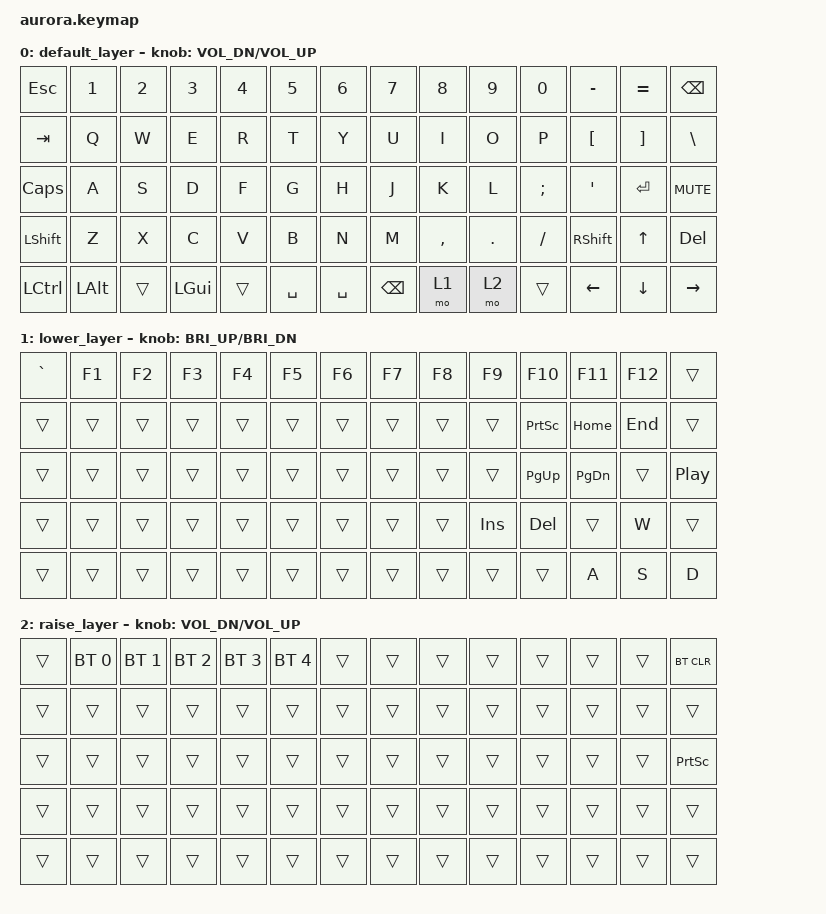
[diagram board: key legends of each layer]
#include <behaviors.dtsi>
#include <dt-bindings/zmk/keys.h>
#include <dt-bindings/zmk/bt.h>
#include <dt-bindings/zmk/ext_power.h>

/ {
    keymap {
        compatible = "zmk,keymap";

        default_layer {
            // ----------------------------------------------------------------------------------------------
            // |  ESC |  1  |  2  |  3  |  4  |  5  |   |  6  |  7  |  8  |  9   |  0  |   -  |   +  | BSPC |
            // |  TAB |  Q  |  W  |  E  |  R  |  T  |   |  Y  |  U  |  I  |  O   |  P  | LBKT | RBKT |   \  |
            // | CAPS |  A  |  S  |  D  |  F  |  G  |   |  H  |  J  |  K  |  L   |  ;  |  '   | ENTR | REBT |
            // | SHFT |  Z  |  X  |  C  |  V  |  B  |   |  N  |  M  |  ,  |  .   |  /  | SHFT | UPAR | DEL  |
            // |  CTRL  |  ALT  |  SPR  |    SPC    |   | BSPC | ALT | LOW | LOW2 |     | LTAR | DNAR | RTAR |

            bindings = <
&kp ESC    &kp N1    &kp N2  &kp N3    &kp N4  &kp N5       &kp N6     &kp N7    &kp N8     &kp N9   &kp N0    &kp MINUS  &kp EQUAL  &kp BSPC
&kp TAB    &kp Q     &kp W   &kp E     &kp R   &kp T        &kp Y      &kp U     &kp I      &kp O    &kp P     &kp LBKT   &kp RBKT   &kp BSLH
&kp CAPS   &kp A     &kp S   &kp D     &kp F   &kp G        &kp H      &kp J     &kp K      &kp L    &kp SEMI  &kp APOS   &kp RET    &kp C_MUTE
&kp LSHFT  &kp Z     &kp X   &kp C     &kp V   &kp B        &kp N      &kp M     &kp COMMA  &kp DOT  &kp FSLH  &kp RSHFT  &kp UP     &kp DEL
&kp LCTRL  &kp LALT  &trans  &kp LGUI  &trans  &kp SPACE    &kp SPACE  &kp BSPC  &mo 1      &mo 2    &trans    &kp LEFT   &kp DOWN   &kp RIGHT
            >;

            sensor-bindings = <&inc_dec_kp C_VOL_DN C_VOL_UP>;
        };

        lower_layer {
            // --------------------------------------------------------------------------------------
            // |  `  | F1 | F2 | F3 | F4 | F5 |   | F6 | F7 | F8  | F9  | F10  | F11  | F12 |       |
            // |     |    |    |    |    |    |   |    |    |     |     | PRNT | HOME | END |       |
            // |     |    |    |    |    |    |   |    |    |     |     | PGUP | PGDN |     | PSCRN |
            // |     |    |    |    |    |    |   |    |    |     | ISR | DEL  |      |  W  |       |
            // |     |    |    |    |    |    |   |    |    |     |     |      |  A   |  S  |   D   |

            bindings = <
&kp GRAVE  &kp F1  &kp F2  &kp F3  &kp F4  &kp F5    &kp F6  &kp F7  &kp F8  &kp F9   &kp F10    &kp F11    &kp F12  &trans
&trans     &trans  &trans  &trans  &trans  &trans    &trans  &trans  &trans  &trans   &kp PSCRN  &kp HOME   &kp END  &trans
&trans     &trans  &trans  &trans  &trans  &trans    &trans  &trans  &trans  &trans   &kp PG_UP  &kp PG_DN  &trans   &kp C_PP
&trans     &trans  &trans  &trans  &trans  &trans    &trans  &trans  &trans  &kp INS  &kp DEL    &trans     &kp W    &trans
&trans     &trans  &trans  &trans  &trans  &trans    &trans  &trans  &trans  &trans   &trans     &kp A      &kp S    &kp D
            >;

            sensor-bindings = <&inc_dec_kp C_BRI_UP C_BRI_DN>;
        };

        raise_layer {
            // --------------------------------------------------------------------------------------
            // |     | B1 | B2 | B3 | B4 | B5 |   |    |    |     |     |      |      |     | BTCLR |
            // |     |    |    |    |    |    |   |    |    |     |     |      |      |     |       |
            // |     |    |    |    |    |    |   |    |    |     |     |      |      |     |       |
            // |     |    |    |    |    |    |   |    |    |     |     |      |      |     |       |
            // |     |    |    |    |    |    |   |    |    |     |     |      |      |     |       |

            bindings = <
&trans  &bt BT_SEL 0  &bt BT_SEL 1  &bt BT_SEL 2  &bt BT_SEL 3  &bt BT_SEL 4    &trans  &trans  &trans  &trans  &trans  &trans  &trans  &bt BT_CLR
&trans  &trans        &trans        &trans        &trans        &trans          &trans  &trans  &trans  &trans  &trans  &trans  &trans  &trans
&trans  &trans        &trans        &trans        &trans        &trans          &trans  &trans  &trans  &trans  &trans  &trans  &trans  &kp PSCRN
&trans  &trans        &trans        &trans        &trans        &trans          &trans  &trans  &trans  &trans  &trans  &trans  &trans  &trans
&trans  &trans        &trans        &trans        &trans        &trans          &trans  &trans  &trans  &trans  &trans  &trans  &trans  &trans
            >;

            sensor-bindings = <&inc_dec_kp C_VOL_DN C_VOL_UP>;
        };
    };
};
